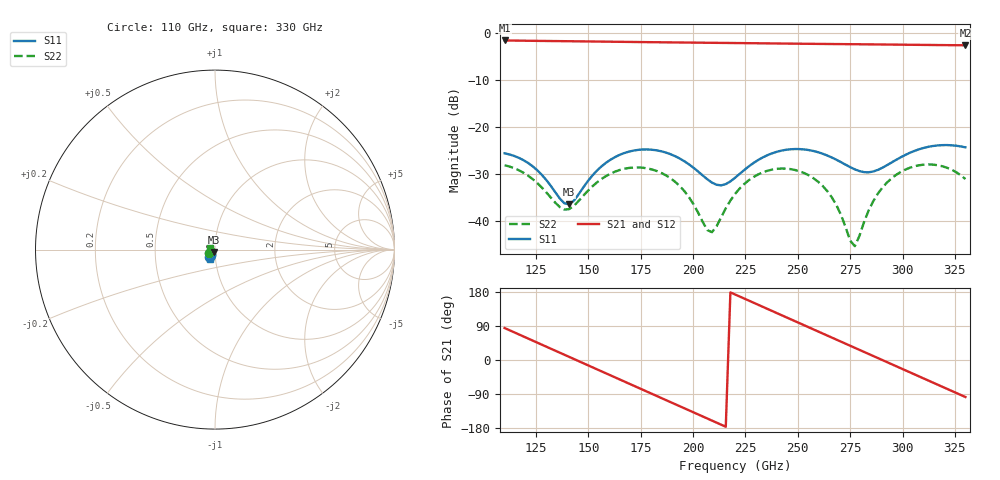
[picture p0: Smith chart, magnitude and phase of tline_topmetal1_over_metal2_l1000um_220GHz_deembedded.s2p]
! Created with skrf 2.0.1 (http://scikit-rf.org).
# GHz S DB R 50.0
!freq dBS11 angS11 dBS21 angS21 dBS12 angS12 dBS22 angS22
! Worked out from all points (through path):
!   101 points, 110 GHz to 330 GHz, reference 50 ohm
!   highest |S21| = -1.57 dB at 110 GHz (marker M1); lowest = -2.6 dB at 330 GHz (marker M2)
!   group delay of S21, straight-line fit = 6.84 ps
!   lowest |S11| = -36.4 dB at 140.8 GHz (marker M3), VSWR 1.03, Z = 49.3 - j1.32 ohm
!   |S11| at or under -10 dB: start of sweep to end of sweep
!   |S22| runs from -45.4 to -28.0 dB; largest |S21 - S12| = 9.5e-14
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110  -25.60 -130.2  -1.57 84.3  -1.57 84.3  -28.13 -149.3
127.6  -30.09 -155.8  -1.67 40.9  -1.67 40.9  -32.80 -175.9
136.4  -35.25 -143.4  -1.71 19.2  -1.71 19.2  -37.06 -162.6
140.8  -36.44 -116.9  -1.73 8.3  -1.73 8.3  -37.48 -142.8
147.4  -32.96 -88.7  -1.77 -8.0  -1.77 -8.0  -34.71 -124.6
156.2  -28.40 -88.4  -1.81 -29.7  -1.81 -29.7  -31.08 -127.8
167.2  -25.53 -103.3  -1.87 -56.9  -1.87 -56.9  -28.88 -145.9
176  -24.78 -117.7  -1.92 -78.6  -1.92 -78.6  -28.67 -163.4
184.8  -25.16 -131.4  -1.96 -100.3  -1.96 -100.3  -29.77 179.1
195.8  -27.28 -143.9  -2.01 -127.4  -2.01 -127.4  -33.63 161.7
209  -31.83 -133.8  -2.07 -159.9  -2.07 -159.9  -42.38 -153.7
220  -30.81 -100.2  -2.12 173.0  -2.12 173.0  -34.26 -119.5
228.8  -27.66 -95.4  -2.16 151.3  -2.16 151.3  -30.65 -132.0
239.8  -25.29 -104.8  -2.21 124.2  -2.21 124.2  -28.92 -154.2
257.4  -25.10 -125.6  -2.29 80.9  -2.29 80.9  -30.88 168.8
266.2  -26.48 -131.9  -2.33 59.3  -2.33 59.3  -34.95 154.7
277.2  -29.01 -126.3  -2.37 32.2  -2.37 32.2  -45.36 -152.0
286  -29.47 -108.2  -2.41 10.5  -2.41 10.5  -35.78 -109.4
294.8  -27.54 -96.4  -2.45 -11.1  -2.45 -11.1  -30.90 -122.1
303.6  -25.46 -96.9  -2.49 -32.8  -2.49 -32.8  -28.65 -140.6
314.6  -24.03 -105.6  -2.54 -59.8  -2.54 -59.8  -28.01 -165.5
330  -24.32 -119.2  -2.60 -97.7  -2.60 -97.7  -31.08 159.7
